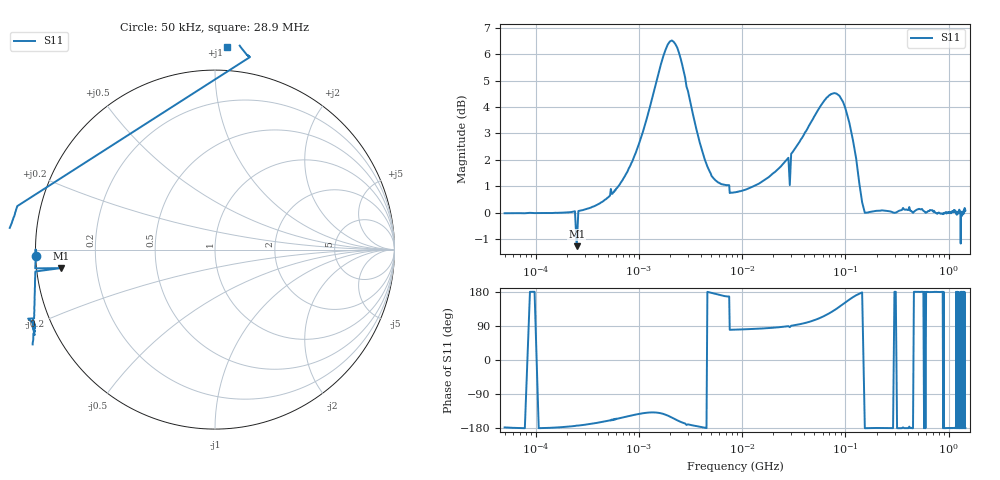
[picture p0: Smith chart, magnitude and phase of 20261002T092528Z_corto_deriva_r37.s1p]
! piloto_deriva / corto_deriva / r37
# HZ S RI R 50
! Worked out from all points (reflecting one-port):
!   501 points, 50 kHz to 1.45 GHz, reference 50 ohm
!   lowest |S11| = -1.3 dB at 249.5 kHz (marker M1), VSWR 13.86, Z = 3.62 - j2.97 ohm
!   phase of S11 starts at -178 deg and turns -2 deg over the sweep
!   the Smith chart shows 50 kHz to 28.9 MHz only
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50000  -0.9979 -0.0375
183000  -0.9997 -0.0528
249500  -0.8592 -0.1031
658000  -1.014 -0.5105
1180000  -1.135 -0.9771
1630000  -1.472 -1.212
1990000  -1.81 -1.079
2170000  -1.896 -0.9122
2440000  -1.901 -0.6439
3070000  -1.632 -0.2691
4330000  -1.263 -0.0311
7300000  -1.102 0.2414
7750000  0.1941 1.074
8560000  0.1869 1.078
1.9e7  0.1088 1.173
3.16e7  -0.0343 1.312
4.69e7  -0.324 1.454
5.77e7  -0.5954 1.479
6.76e7  -0.8592 1.417
7.93e7  -1.14 1.237
9.37e7  -1.355 0.9001
9.82e7  -1.384 0.785
1e8  -1.39 0.7375
1.18e8  -1.331 0.3386
1.36e8  -1.135 0.1005
1.63e8  -1.002 -0.00402
4.06e8  -1.012 -0.00338
1.45e9  -1.011 -0.00624
